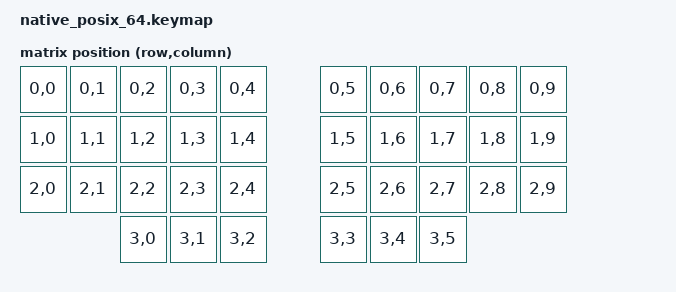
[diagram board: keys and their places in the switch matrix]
#include <dt-bindings/zmk/matrix_transform.h>
#include <dt-bindings/zmk/kscan_mock.h>

/ {
    chosen {
        zmk,matrix-transform = &transform;
    };

    /* op36 position N is RC(N/10, N%10); thumbs 30..35 are row 3. */
    transform: keymap_transform {
        compatible = "zmk,matrix-transform";
        columns = <10>;
        rows = <4>;
        map = <
            RC(0,0) RC(0,1) RC(0,2) RC(0,3) RC(0,4) RC(0,5) RC(0,6) RC(0,7) RC(0,8) RC(0,9)
            RC(1,0) RC(1,1) RC(1,2) RC(1,3) RC(1,4) RC(1,5) RC(1,6) RC(1,7) RC(1,8) RC(1,9)
            RC(2,0) RC(2,1) RC(2,2) RC(2,3) RC(2,4) RC(2,5) RC(2,6) RC(2,7) RC(2,8) RC(2,9)
            RC(3,0) RC(3,1) RC(3,2) RC(3,3) RC(3,4) RC(3,5)
        >;
    };
};&kscan {
    rows = <4>;
    columns = <10>;
    events = <
        /* lead-in so require-prior-idle-ms sees real idle time */
        ZMK_MOCK_PRESS(0,1,10)
        ZMK_MOCK_RELEASE(0,1,400)

        /* Escape lives on the tap of Shift, position 11, and this case measures
           how long that tap may last. Space is held throughout, because that is
           the only way to reach the layer, and the tap is made with the same
           hand as the thumb holding it — which is why it takes longer than a
           tap normally would.

           Balanced with no other key in play decides on the timer, so the
           tapping term is the whole question. At 200 ms a 250 ms press became a
           silent Shift and the key looked dead on the device; at 500 ms all
           four of these resolve as taps and emit 0x29.

           The term costs nothing elsewhere: with a digit in play the hold is
           decided by that key's release, never by the timer, which is why
           numbers-ru-symbols did not move when this changed. */
        ZMK_MOCK_PRESS(3,1,250)

        ZMK_MOCK_PRESS(1,1,100)
        ZMK_MOCK_RELEASE(1,1,120)
        ZMK_MOCK_PRESS(1,1,150)
        ZMK_MOCK_RELEASE(1,1,120)
        ZMK_MOCK_PRESS(1,1,250)
        ZMK_MOCK_RELEASE(1,1,120)
        ZMK_MOCK_PRESS(1,1,400)
        ZMK_MOCK_RELEASE(1,1,120)

        ZMK_MOCK_RELEASE(3,1,400)
    >;
};

#include "/cfg/op36_ruen.keymap"
